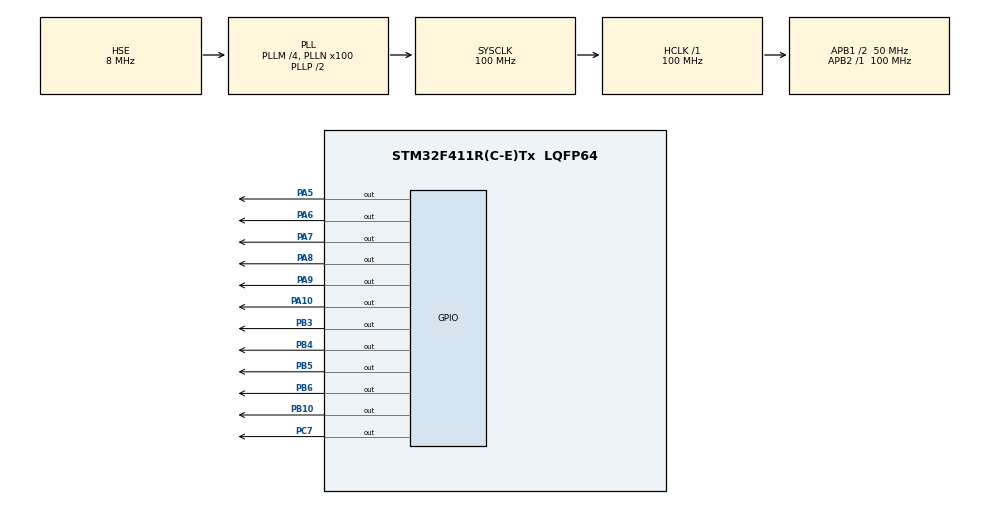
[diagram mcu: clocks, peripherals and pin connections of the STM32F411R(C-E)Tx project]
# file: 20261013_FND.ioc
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Mcu.Family=STM32F4
Mcu.Name=STM32F411R(C-E)Tx
Mcu.Package=LQFP64
NVIC.PriorityGroup=NVIC_PRIORITYGROUP_4
PA10.Signal=GPIO_Output
PA5.Signal=GPIO_Output
PA6.Signal=GPIO_Output
PA7.Signal=GPIO_Output
PA8.Signal=GPIO_Output
PA9.Signal=GPIO_Output
PB10.Signal=GPIO_Output
PB3.Signal=GPIO_Output
PB4.Signal=GPIO_Output
PB5.Signal=GPIO_Output
PB6.Signal=GPIO_Output
PC7.Signal=GPIO_Output
PH0\ -\ OSC_IN.Mode=HSE-External-Oscillator
PH0\ -\ OSC_IN.Signal=RCC_OSC_IN
PH1\ -\ OSC_OUT.Mode=HSE-External-Oscillator
PH1\ -\ OSC_OUT.Signal=RCC_OSC_OUT
ProjectManager.HeapSize=0x200
ProjectManager.StackSize=0x400
ProjectManager.TargetToolchain=STM32CubeIDE
RCC.48MHZClocksFreq_Value=50000000
RCC.AHBFreq_Value=100000000
RCC.APB1CLKDivider=RCC_HCLK_DIV2
RCC.APB1Freq_Value=50000000
RCC.APB1TimFreq_Value=100000000
RCC.APB2Freq_Value=100000000
RCC.APB2TimFreq_Value=100000000
RCC.CortexFreq_Value=100000000
RCC.HCLKFreq_Value=100000000
RCC.HSE_VALUE=8000000
RCC.HSI_VALUE=16000000
RCC.LSE_VALUE=32768
RCC.PLLM=4
RCC.PLLN=100
RCC.PLLSourceVirtual=RCC_PLLSOURCE_HSE
RCC.SYSCLKFreq_VALUE=100000000
RCC.SYSCLKSource=RCC_SYSCLKSOURCE_PLLCLK
RCC.VCOOutputFreq_Value=200000000
board=custom

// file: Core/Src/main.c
/* USER CODE BEGIN Header */
/**
 ******************************************************************************
 * @file           : main.c
 * @brief          : Main program body
 ******************************************************************************
 * @attention
 *
 * Copyright (c) 2026 STMicroelectronics.
 * All rights reserved.
 *
 * This software is licensed under terms that can be found in the LICENSE file
 * in the root directory of this software component.
 * If no LICENSE file comes with this software, it is provided AS-IS.
 *
 ******************************************************************************
 */
/* USER CODE END Header */

#include "main.h"

/* USER CODE BEGIN PTD */

enum {ZERO, ONE, TWO, THREE, FOUR, FIVE, SIX, SEVEN, EIGHT, NINE};

/* USER CODE END PTD */

/* USER CODE BEGIN PD */

// FND 자릿수
#define D1_GPIO GPIOA
#define D1_PIN GPIO_PIN_5    // 1000의 자리

#define D2_GPIO GPIOB
#define D2_PIN GPIO_PIN_6    // 100의 자리

#define D3_GPIO GPIOC
#define D3_PIN GPIO_PIN_7    // 10의 자리

#define D4_GPIO GPIOA
#define D4_PIN GPIO_PIN_10   // 1의 자리

/* USER CODE END PD */

/* USER CODE BEGIN PV */

int num = 0;

/* USER CODE END PV */

void SystemClock_Config(void);
static void MX_GPIO_Init(void);

/* USER CODE BEGIN 0 */

void zero(void)
{
	/* 숫자 0 */
	HAL_GPIO_WritePin(GPIOA, GPIO_PIN_6, GPIO_PIN_SET);    // A
	HAL_GPIO_WritePin(GPIOA, GPIO_PIN_9, GPIO_PIN_SET);    // B
	HAL_GPIO_WritePin(GPIOB, GPIO_PIN_5, GPIO_PIN_SET);    // C
	HAL_GPIO_WritePin(GPIOB, GPIO_PIN_10, GPIO_PIN_SET);   // D
	HAL_GPIO_WritePin(GPIOA, GPIO_PIN_8, GPIO_PIN_SET);    // E
	HAL_GPIO_WritePin(GPIOA, GPIO_PIN_7, GPIO_PIN_SET);    // F
	HAL_GPIO_WritePin(GPIOB, GPIO_PIN_3, GPIO_PIN_RESET);  // G
	HAL_GPIO_WritePin(GPIOB, GPIO_PIN_4, GPIO_PIN_RESET);  // DP
}

void one(void)
{
	/* 숫자 1 */
	HAL_GPIO_WritePin(GPIOA, GPIO_PIN_6, GPIO_PIN_RESET);  // A
	HAL_GPIO_WritePin(GPIOA, GPIO_PIN_9, GPIO_PIN_SET);    // B
	HAL_GPIO_WritePin(GPIOB, GPIO_PIN_5, GPIO_PIN_SET);    // C
	HAL_GPIO_WritePin(GPIOB, GPIO_PIN_10, GPIO_PIN_RESET); // D
	HAL_GPIO_WritePin(GPIOA, GPIO_PIN_8, GPIO_PIN_RESET);  // E
	HAL_GPIO_WritePin(GPIOA, GPIO_PIN_7, GPIO_PIN_RESET);  // F
	HAL_GPIO_WritePin(GPIOB, GPIO_PIN_3, GPIO_PIN_RESET);  // G
	HAL_GPIO_WritePin(GPIOB, GPIO_PIN_4, GPIO_PIN_RESET);  // DP
}

void two(void)
{
	/* 숫자 2 */
	HAL_GPIO_WritePin(GPIOA, GPIO_PIN_6, GPIO_PIN_SET);    // A
	HAL_GPIO_WritePin(GPIOA, GPIO_PIN_9, GPIO_PIN_SET);    // B
	HAL_GPIO_WritePin(GPIOB, GPIO_PIN_5, GPIO_PIN_RESET);  // C
	HAL_GPIO_WritePin(GPIOB, GPIO_PIN_10, GPIO_PIN_SET);   // D
	HAL_GPIO_WritePin(GPIOA, GPIO_PIN_8, GPIO_PIN_SET);    // E
	HAL_GPIO_WritePin(GPIOA, GPIO_PIN_7, GPIO_PIN_RESET);  // F
	HAL_GPIO_WritePin(GPIOB, GPIO_PIN_3, GPIO_PIN_SET);    // G
	HAL_GPIO_WritePin(GPIOB, GPIO_PIN_4, GPIO_PIN_RESET);  // DP
}

void three(void)
{
	/* 숫자 3 */
	HAL_GPIO_WritePin(GPIOA, GPIO_PIN_6, GPIO_PIN_SET);    // A
	HAL_GPIO_WritePin(GPIOA, GPIO_PIN_9, GPIO_PIN_SET);    // B
	HAL_GPIO_WritePin(GPIOB, GPIO_PIN_5, GPIO_PIN_SET);    // C
	HAL_GPIO_WritePin(GPIOB, GPIO_PIN_10, GPIO_PIN_SET);   // D
	HAL_GPIO_WritePin(GPIOA, GPIO_PIN_8, GPIO_PIN_RESET);  // E
	HAL_GPIO_WritePin(GPIOA, GPIO_PIN_7, GPIO_PIN_RESET);  // F
	HAL_GPIO_WritePin(GPIOB, GPIO_PIN_3, GPIO_PIN_SET);    // G
	HAL_GPIO_WritePin(GPIOB, GPIO_PIN_4, GPIO_PIN_RESET);  // DP
}

void four(void)
{
	/* 숫자 4 */
	HAL_GPIO_WritePin(GPIOA, GPIO_PIN_6, GPIO_PIN_RESET);  // A
	HAL_GPIO_WritePin(GPIOA, GPIO_PIN_9, GPIO_PIN_SET);    // B
	HAL_GPIO_WritePin(GPIOB, GPIO_PIN_5, GPIO_PIN_SET);    // C
	HAL_GPIO_WritePin(GPIOB, GPIO_PIN_10, GPIO_PIN_RESET); // D
	HAL_GPIO_WritePin(GPIOA, GPIO_PIN_8, GPIO_PIN_RESET);  // E
	HAL_GPIO_WritePin(GPIOA, GPIO_PIN_7, GPIO_PIN_SET);    // F
	HAL_GPIO_WritePin(GPIOB, GPIO_PIN_3, GPIO_PIN_SET);    // G
	HAL_GPIO_WritePin(GPIOB, GPIO_PIN_4, GPIO_PIN_RESET);  // DP
}

void five(void)
{
	/* 숫자 5 */
	HAL_GPIO_WritePin(GPIOA, GPIO_PIN_6, GPIO_PIN_SET);    // A
	HAL_GPIO_WritePin(GPIOA, GPIO_PIN_9, GPIO_PIN_RESET);  // B
	HAL_GPIO_WritePin(GPIOB, GPIO_PIN_5, GPIO_PIN_SET);    // C
	HAL_GPIO_WritePin(GPIOB, GPIO_PIN_10, GPIO_PIN_SET);   // D
	HAL_GPIO_WritePin(GPIOA, GPIO_PIN_8, GPIO_PIN_RESET);  // E
	HAL_GPIO_WritePin(GPIOA, GPIO_PIN_7, GPIO_PIN_SET);    // F
	HAL_GPIO_WritePin(GPIOB, GPIO_PIN_3, GPIO_PIN_SET);    // G
	HAL_GPIO_WritePin(GPIOB, GPIO_PIN_4, GPIO_PIN_RESET);  // DP
}

void six(void)
{
	/* 숫자 6 */
	HAL_GPIO_WritePin(GPIOA, GPIO_PIN_6, GPIO_PIN_SET);    // A
	HAL_GPIO_WritePin(GPIOA, GPIO_PIN_9, GPIO_PIN_RESET);  // B
	HAL_GPIO_WritePin(GPIOB, GPIO_PIN_5, GPIO_PIN_SET);    // C
	HAL_GPIO_WritePin(GPIOB, GPIO_PIN_10, GPIO_PIN_SET);   // D
	HAL_GPIO_WritePin(GPIOA, GPIO_PIN_8, GPIO_PIN_SET);    // E
	HAL_GPIO_WritePin(GPIOA, GPIO_PIN_7, GPIO_PIN_SET);    // F
	HAL_GPIO_WritePin(GPIOB, GPIO_PIN_3, GPIO_PIN_SET);    // G
	HAL_GPIO_WritePin(GPIOB, GPIO_PIN_4, GPIO_PIN_RESET);  // DP
}

void seven(void)
{
	/* 숫자 7 */
	HAL_GPIO_WritePin(GPIOA, GPIO_PIN_6, GPIO_PIN_SET);    // A
	HAL_GPIO_WritePin(GPIOA, GPIO_PIN_9, GPIO_PIN_SET);    // B
	HAL_GPIO_WritePin(GPIOB, GPIO_PIN_5, GPIO_PIN_SET);    // C
	HAL_GPIO_WritePin(GPIOB, GPIO_PIN_10, GPIO_PIN_RESET); // D
	HAL_GPIO_WritePin(GPIOA, GPIO_PIN_8, GPIO_PIN_RESET);  // E
	HAL_GPIO_WritePin(GPIOA, GPIO_PIN_7, GPIO_PIN_RESET);  // F
	HAL_GPIO_WritePin(GPIOB, GPIO_PIN_3, GPIO_PIN_RESET);  // G
	HAL_GPIO_WritePin(GPIOB, GPIO_PIN_4, GPIO_PIN_RESET);  // DP
}

void eight(void)
{
	/* 숫자 8 */
	HAL_GPIO_WritePin(GPIOA, GPIO_PIN_6, GPIO_PIN_SET);    // A
	HAL_GPIO_WritePin(GPIOA, GPIO_PIN_9, GPIO_PIN_SET);    // B
	HAL_GPIO_WritePin(GPIOB, GPIO_PIN_5, GPIO_PIN_SET);    // C
	HAL_GPIO_WritePin(GPIOB, GPIO_PIN_10, GPIO_PIN_SET);   // D
	HAL_GPIO_WritePin(GPIOA, GPIO_PIN_8, GPIO_PIN_SET);    // E
	HAL_GPIO_WritePin(GPIOA, GPIO_PIN_7, GPIO_PIN_SET);    // F
	HAL_GPIO_WritePin(GPIOB, GPIO_PIN_3, GPIO_PIN_SET);    // G
	HAL_GPIO_WritePin(GPIOB, GPIO_PIN_4, GPIO_PIN_RESET);  // DP
}

void nine(void)
{
	/* 숫자 9 */
	HAL_GPIO_WritePin(GPIOA, GPIO_PIN_6, GPIO_PIN_SET);    // A
	HAL_GPIO_WritePin(GPIOA, GPIO_PIN_9, GPIO_PIN_SET);    // B
	HAL_GPIO_WritePin(GPIOB, GPIO_PIN_5, GPIO_PIN_SET);    // C
	HAL_GPIO_WritePin(GPIOB, GPIO_PIN_10, GPIO_PIN_SET);   // D
	HAL_GPIO_WritePin(GPIOA, GPIO_PIN_8, GPIO_PIN_RESET);  // E
	HAL_GPIO_WritePin(GPIOA, GPIO_PIN_7, GPIO_PIN_SET);    // F
	HAL_GPIO_WritePin(GPIOB, GPIO_PIN_3, GPIO_PIN_SET);    // G
	HAL_GPIO_WritePin(GPIOB, GPIO_PIN_4, GPIO_PIN_RESET);  // DP
}

// 숫자에 맞는 함수 호출
void number(int n)
{
	switch (n)
	{
	case ZERO:
		zero();
		break;

	case ONE:
		one();
		break;

	case TWO:
		two();
		break;

	case THREE:
		three();
		break;

	case FOUR:
		four();
		break;

	case FIVE:
		five();
		break;

	case SIX:
		six();
		break;

	case SEVEN:
		seven();
		break;

	case EIGHT:
		eight();
		break;

	case NINE:
		nine();
		break;

	default:
		zero();
		break;
	}
}

// 4자리 FND에 현재 숫자 표시
void display(void)
{
	// D1 : 천의 자리
	number(num / 1000);
	HAL_GPIO_WritePin(D1_GPIO, D1_PIN, GPIO_PIN_RESET);
	HAL_Delay(1);
	HAL_GPIO_WritePin(D1_GPIO, D1_PIN, GPIO_PIN_SET);

	// D2 : 백의 자리
	number(num / 100 % 10);
	HAL_GPIO_WritePin(D2_GPIO, D2_PIN, GPIO_PIN_RESET);
	HAL_Delay(1);
	HAL_GPIO_WritePin(D2_GPIO, D2_PIN, GPIO_PIN_SET);

	// D3 : 십의 자리
	number(num / 10 % 10);
	HAL_GPIO_WritePin(D3_GPIO, D3_PIN, GPIO_PIN_RESET);
	HAL_Delay(1);
	HAL_GPIO_WritePin(D3_GPIO, D3_PIN, GPIO_PIN_SET);

	// D4 : 일의 자리
	number(num % 10);
	HAL_GPIO_WritePin(D4_GPIO, D4_PIN, GPIO_PIN_RESET);
	HAL_Delay(1);
	HAL_GPIO_WritePin(D4_GPIO, D4_PIN, GPIO_PIN_SET);
}

// 약 0.1초마다 숫자 증가
void count(void)
{
	int i;

	// 4자리 표시 약 4ms x 25회 = 약 100ms
	for (i = 0; i < 25; i = i + 1)
	{
		display();
	}

	// 숫자 증가
	num = num + 1;

	// 9999 다음 0000
	if (num >= 10000)
	{
		num = 0;
	}
}

/* USER CODE END 0 */

int main(void)
{

	/* MCU Configuration--------------------------------------------------------*/

	/* Reset of all peripherals, Initializes the Flash interface and the Systick. */
	HAL_Init();

	/* Configure the system clock */
	SystemClock_Config();

	/* Initialize all configured peripherals */
	MX_GPIO_Init();

	/* USER CODE BEGIN 2 */

	// 처음에 4자리 모두 끄기
	HAL_GPIO_WritePin(D1_GPIO, D1_PIN, GPIO_PIN_SET);
	HAL_GPIO_WritePin(D2_GPIO, D2_PIN, GPIO_PIN_SET);
	HAL_GPIO_WritePin(D3_GPIO, D3_PIN, GPIO_PIN_SET);
	HAL_GPIO_WritePin(D4_GPIO, D4_PIN, GPIO_PIN_SET);

	/* USER CODE END 2 */

	/* Infinite loop */
	/* USER CODE BEGIN WHILE */

	while (1)
	{
		count();

		/* USER CODE END WHILE */

	}
}

void SystemClock_Config(void)
{
	RCC_OscInitTypeDef RCC_OscInitStruct = {0};
	RCC_ClkInitTypeDef RCC_ClkInitStruct = {0};

	/** Configure the main internal regulator output voltage
	 */
	__HAL_RCC_PWR_CLK_ENABLE();
	__HAL_PWR_VOLTAGESCALING_CONFIG(PWR_REGULATOR_VOLTAGE_SCALE1);

	/** Initializes the RCC Oscillators according to the specified parameters
	 * in the RCC_OscInitTypeDef structure.
	 */
	RCC_OscInitStruct.OscillatorType = RCC_OSCILLATORTYPE_HSE;
	RCC_OscInitStruct.HSEState = RCC_HSE_ON;
	RCC_OscInitStruct.PLL.PLLState = RCC_PLL_ON;
	RCC_OscInitStruct.PLL.PLLSource = RCC_PLLSOURCE_HSE;
	RCC_OscInitStruct.PLL.PLLM = 4;
	RCC_OscInitStruct.PLL.PLLN = 100;
	RCC_OscInitStruct.PLL.PLLP = RCC_PLLP_DIV2;
	RCC_OscInitStruct.PLL.PLLQ = 4;

	if (HAL_RCC_OscConfig(&RCC_OscInitStruct) != HAL_OK)
	{
		Error_Handler();
	}

	/** Initializes the CPU, AHB and APB buses clocks
	 */
	RCC_ClkInitStruct.ClockType = RCC_CLOCKTYPE_HCLK | RCC_CLOCKTYPE_SYSCLK
			| RCC_CLOCKTYPE_PCLK1 | RCC_CLOCKTYPE_PCLK2;
	RCC_ClkInitStruct.SYSCLKSource = RCC_SYSCLKSOURCE_PLLCLK;
	RCC_ClkInitStruct.AHBCLKDivider = RCC_SYSCLK_DIV1;
	RCC_ClkInitStruct.APB1CLKDivider = RCC_HCLK_DIV2;
	RCC_ClkInitStruct.APB2CLKDivider = RCC_HCLK_DIV1;

	if (HAL_RCC_ClockConfig(&RCC_ClkInitStruct, FLASH_LATENCY_3) != HAL_OK)
	{
		Error_Handler();
	}
}

static void MX_GPIO_Init(void)
{
	GPIO_InitTypeDef GPIO_InitStruct = {0};

	/* GPIO Ports Clock Enable */
	__HAL_RCC_GPIOH_CLK_ENABLE();
	__HAL_RCC_GPIOA_CLK_ENABLE();
	__HAL_RCC_GPIOB_CLK_ENABLE();
	__HAL_RCC_GPIOC_CLK_ENABLE();

	/* Configure GPIO pin Output Level */
	HAL_GPIO_WritePin(GPIOA,
			GPIO_PIN_5 | GPIO_PIN_6 | GPIO_PIN_7 |
			GPIO_PIN_8 | GPIO_PIN_9 | GPIO_PIN_10,
			GPIO_PIN_RESET);

	/* Configure GPIO pin Output Level */
	HAL_GPIO_WritePin(GPIOB,
			GPIO_PIN_10 | GPIO_PIN_3 | GPIO_PIN_4 |
			GPIO_PIN_5 | GPIO_PIN_6,
			GPIO_PIN_RESET);

	/* Configure GPIO pin Output Level */
	HAL_GPIO_WritePin(GPIOC, GPIO_PIN_7, GPIO_PIN_RESET);

	/* Configure GPIO pins : PA5 PA6 PA7 PA8 PA9 PA10 */
	GPIO_InitStruct.Pin = GPIO_PIN_5 | GPIO_PIN_6 | GPIO_PIN_7 |
			GPIO_PIN_8 | GPIO_PIN_9 | GPIO_PIN_10;
	GPIO_InitStruct.Mode = GPIO_MODE_OUTPUT_PP;
	GPIO_InitStruct.Pull = GPIO_NOPULL;
	GPIO_InitStruct.Speed = GPIO_SPEED_FREQ_LOW;
	HAL_GPIO_Init(GPIOA, &GPIO_InitStruct);

	/* Configure GPIO pins : PB10 PB3 PB4 PB5 PB6 */
	GPIO_InitStruct.Pin = GPIO_PIN_10 | GPIO_PIN_3 | GPIO_PIN_4 |
			GPIO_PIN_5 | GPIO_PIN_6;
	GPIO_InitStruct.Mode = GPIO_MODE_OUTPUT_PP;
	GPIO_InitStruct.Pull = GPIO_NOPULL;
	GPIO_InitStruct.Speed = GPIO_SPEED_FREQ_LOW;
	HAL_GPIO_Init(GPIOB, &GPIO_InitStruct);

	/* Configure GPIO pin : PC7 */
	GPIO_InitStruct.Pin = GPIO_PIN_7;
	GPIO_InitStruct.Mode = GPIO_MODE_OUTPUT_PP;
	GPIO_InitStruct.Pull = GPIO_NOPULL;
	GPIO_InitStruct.Speed = GPIO_SPEED_FREQ_LOW;
	HAL_GPIO_Init(GPIOC, &GPIO_InitStruct);

}

void Error_Handler(void)
{
	__disable_irq();
	while (1)
	{
	}
}
